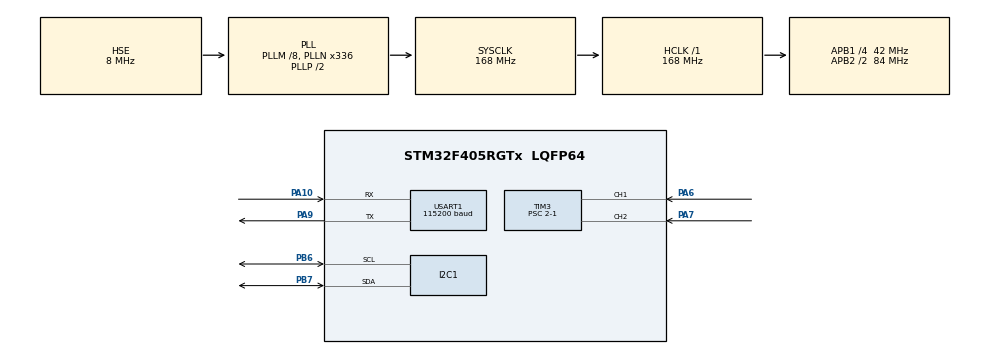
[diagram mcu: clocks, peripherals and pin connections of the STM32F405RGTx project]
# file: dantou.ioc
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Mcu.Family=STM32F4
Mcu.Name=STM32F405RGTx
Mcu.Package=LQFP64
NVIC.PriorityGroup=NVIC_PRIORITYGROUP_4
NVIC.TIM2_IRQn=true\:0\:0\:false\:false\:true
NVIC.TIM4_IRQn=true\:1\:0\:true\:false\:true
PA10.Mode=Asynchronous
PA10.Signal=USART1_RX
PA13.Mode=Serial_Wire
PA13.Signal=SYS_JTMS-SWDIO
PA14.Mode=Serial_Wire
PA14.Signal=SYS_JTCK-SWCLK
PA6.GPIO_PuPd=GPIO_PULLUP
PA6.Signal=S_TIM3_CH1
PA7.GPIO_PuPd=GPIO_PULLUP
PA7.Signal=S_TIM3_CH2
PA9.Mode=Asynchronous
PA9.Signal=USART1_TX
PB6.Mode=I2C
PB6.Signal=I2C1_SCL
PB7.Mode=I2C
PB7.Signal=I2C1_SDA
PH0-OSC_IN.Mode=HSE-External-Oscillator
PH0-OSC_IN.Signal=RCC_OSC_IN
PH1-OSC_OUT.Mode=HSE-External-Oscillator
PH1-OSC_OUT.Signal=RCC_OSC_OUT
ProjectManager.HeapSize=0x200
ProjectManager.StackSize=0x400
ProjectManager.TargetToolchain=MDK-ARM V5
RCC.48MHZClocksFreq_Value=84000000
RCC.AHBFreq_Value=168000000
RCC.APB1CLKDivider=RCC_HCLK_DIV4
RCC.APB1Freq_Value=42000000
RCC.APB1TimFreq_Value=84000000
RCC.APB2CLKDivider=RCC_HCLK_DIV2
RCC.APB2Freq_Value=84000000
RCC.APB2TimFreq_Value=168000000
RCC.CortexFreq_Value=168000000
RCC.HCLKFreq_Value=168000000
RCC.HSE_VALUE=8000000
RCC.HSI_VALUE=16000000
RCC.LSE_VALUE=32768
RCC.PLLM=8
RCC.PLLN=336
RCC.PLLSourceVirtual=RCC_PLLSOURCE_HSE
RCC.SYSCLKFreq_VALUE=168000000
RCC.SYSCLKSource=RCC_SYSCLKSOURCE_PLLCLK
RCC.VCOOutputFreq_Value=336000000
SH.S_TIM3_CH1.0=TIM3_CH1,Encoder_Interface
SH.S_TIM3_CH2.0=TIM3_CH2,Encoder_Interface
TIM2.Period=1000-1
TIM2.Prescaler=84-1
TIM3.EncoderMode=TIM_ENCODERMODE_TI12
TIM3.Period=400
TIM3.Prescaler=2-1
TIM4.Period=1250-1
TIM4.Prescaler=84-1
USART1.BaudRate=115200
VP_TIM2_VS_ClockSourceINT.Mode=Internal
VP_TIM4_VS_ClockSourceINT.Mode=Internal
board=dantou

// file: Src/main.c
/**
  ******************************************************************************
  * File Name          : main.c
  * Description        : Main program body
  ******************************************************************************
  *
  * COPYRIGHT(c) 2017 STMicroelectronics
  *
  * Redistribution and use in source and binary forms, with or without modification,
  * are permitted provided that the following conditions are met:
  *   1. Redistributions of source code must retain the above copyright notice,
  *      this list of conditions and the following disclaimer.
  *   2. Redistributions in binary form must reproduce the above copyright notice,
  *      this list of conditions and the following disclaimer in the documentation
  *      and/or other materials provided with the distribution.
  *   3. Neither the name of STMicroelectronics nor the names of its contributors
  *      may be used to endorse or promote products derived from this software
  *      without specific prior written permission.
  *
  * THIS SOFTWARE IS PROVIDED BY THE COPYRIGHT HOLDERS AND CONTRIBUTORS "AS IS"
  * AND ANY EXPRESS OR IMPLIED WARRANTIES, INCLUDING, BUT NOT LIMITED TO, THE
  * IMPLIED WARRANTIES OF MERCHANTABILITY AND FITNESS FOR A PARTICULAR PURPOSE ARE
  * DISCLAIMED. IN NO EVENT SHALL THE COPYRIGHT HOLDER OR CONTRIBUTORS BE LIABLE
  * FOR ANY DIRECT, INDIRECT, INCIDENTAL, SPECIAL, EXEMPLARY, OR CONSEQUENTIAL
  * DAMAGES (INCLUDING, BUT NOT LIMITED TO, PROCUREMENT OF SUBSTITUTE GOODS OR
  * SERVICES; LOSS OF USE, DATA, OR PROFITS; OR BUSINESS INTERRUPTION) HOWEVER
  * CAUSED AND ON ANY THEORY OF LIABILITY, WHETHER IN CONTRACT, STRICT LIABILITY,
  * OR TORT (INCLUDING NEGLIGENCE OR OTHERWISE) ARISING IN ANY WAY OUT OF THE USE
  * OF THIS SOFTWARE, EVEN IF ADVISED OF THE POSSIBILITY OF SUCH DAMAGE.
  *
  ******************************************************************************
  */
#include "main.h"
#include "stm32f4xx_hal.h"
#include "i2c.h"
#include "tim.h"
#include "usart.h"
#include "gpio.h"

/* USER CODE BEGIN PV */
/* Private variables ---------------------------------------------------------*/

/* USER CODE END PV */

void SystemClock_Config(void);
void Error_Handler(void);

/* USER CODE BEGIN PFP */
/* Private function prototypes -----------------------------------------------*/

/* USER CODE END PFP */

/* USER CODE BEGIN 0 */

extern uint32_t ADC_Value[sampleNum];
volatile int16_t encoderCout = 0;
volatile int16_t encoderCoutPre = 0;
volatile int16_t encoderCoutNow = 0;
int16_t angle_encoder;
/* USER CODE END 0 */

int main(void)
{

  /* USER CODE BEGIN 1 */
	uint8_t deviceId;
  /* USER CODE END 1 */

  /* MCU Configuration----------------------------------------------------------*/

  /* Reset of all peripherals, Initializes the Flash interface and the Systick. */
  HAL_Init();

  /* Configure the system clock */
  SystemClock_Config();

  /* Initialize all configured peripherals */
  MX_GPIO_Init();
  MX_USART1_UART_Init();
  MX_TIM4_Init();
  MX_I2C1_Init();
  MX_TIM2_Init();
  MX_TIM3_Init();

  /* USER CODE BEGIN 2 */

	//HAL_ADC_Start_DMA(&hadc1, (uint32_t*)&ADC_Value, sampleNum);
  /* USER CODE END 2 */

  /* Infinite loop */
  /* USER CODE BEGIN WHILE */
//		mag3110_init();
		FXO8700_init();
		//启动定时器
		HAL_TIM_Encoder_Start(&htim3, TIM_CHANNEL_ALL);
		HAL_TIM_Base_Start_IT(&htim2);
  	HAL_TIM_Base_Start_IT(&htim4);
	//HAL_Delay(100);
//	do
//	{
//	HAL_I2C_Mem_Read(&hi2c1, MAG3110_DEV_READ,MAG3110_SYSMOD,I2C_MEMADD_SIZE_8BIT, &magData.Current_Mode,1, 1000);
//	}while(magData.Current_Mode != MAG3110_ACTIVE_NO_RAWDATA_MODE);
	HAL_I2C_Mem_Read(&hi2c1, FXOS8700CQ_READ, FXOS8700CQ_WHOAMI,I2C_MEMADD_SIZE_8BIT, &deviceId,1, 1000);
  while (1)
  {
  /* USER CODE END WHILE */

  /* USER CODE BEGIN 3 */
//			HAL_ADC_Start_DMA(&hadc1, (uint32_t*)&ADC_Value, 4);
	//printf("1234567890");
		encoderCout = (int16_t)__HAL_TIM_GET_COUNTER(&htim3);
		angle_encoder = (float)encoderCout/400.0f * 360.0f ;
		ReadI2C(5);
	HAL_Delay(1);
  }
  /* USER CODE END 3 */
}

/** System Clock Configuration
*/
void SystemClock_Config(void)
{

  RCC_OscInitTypeDef RCC_OscInitStruct;
  RCC_ClkInitTypeDef RCC_ClkInitStruct;

    /**Configure the main internal regulator output voltage
    */
  __HAL_RCC_PWR_CLK_ENABLE();

  __HAL_PWR_VOLTAGESCALING_CONFIG(PWR_REGULATOR_VOLTAGE_SCALE1);

    /**Initializes the CPU, AHB and APB busses clocks
    */
  RCC_OscInitStruct.OscillatorType = RCC_OSCILLATORTYPE_HSE;
  RCC_OscInitStruct.HSEState = RCC_HSE_ON;
  RCC_OscInitStruct.PLL.PLLState = RCC_PLL_ON;
  RCC_OscInitStruct.PLL.PLLSource = RCC_PLLSOURCE_HSE;
  RCC_OscInitStruct.PLL.PLLM = 8;
  RCC_OscInitStruct.PLL.PLLN = 336;
  RCC_OscInitStruct.PLL.PLLP = RCC_PLLP_DIV2;
  RCC_OscInitStruct.PLL.PLLQ = 4;
  if (HAL_RCC_OscConfig(&RCC_OscInitStruct) != HAL_OK)
  {
    Error_Handler();
  }

    /**Initializes the CPU, AHB and APB busses clocks
    */
  RCC_ClkInitStruct.ClockType = RCC_CLOCKTYPE_HCLK|RCC_CLOCKTYPE_SYSCLK
                              |RCC_CLOCKTYPE_PCLK1|RCC_CLOCKTYPE_PCLK2;
  RCC_ClkInitStruct.SYSCLKSource = RCC_SYSCLKSOURCE_PLLCLK;
  RCC_ClkInitStruct.AHBCLKDivider = RCC_SYSCLK_DIV1;
  RCC_ClkInitStruct.APB1CLKDivider = RCC_HCLK_DIV4;
  RCC_ClkInitStruct.APB2CLKDivider = RCC_HCLK_DIV2;

  if (HAL_RCC_ClockConfig(&RCC_ClkInitStruct, FLASH_LATENCY_5) != HAL_OK)
  {
    Error_Handler();
  }

    /**Configure the Systick interrupt time
    */
  HAL_SYSTICK_Config(HAL_RCC_GetHCLKFreq()/1000);

    /**Configure the Systick
    */
  HAL_SYSTICK_CLKSourceConfig(SYSTICK_CLKSOURCE_HCLK);

  /* SysTick_IRQn interrupt configuration */
  HAL_NVIC_SetPriority(SysTick_IRQn, 0, 0);
}

void Error_Handler(void)
{
  while(1)
  {
  }
}

/************************ (C) COPYRIGHT STMicroelectronics *****END OF FILE****/
